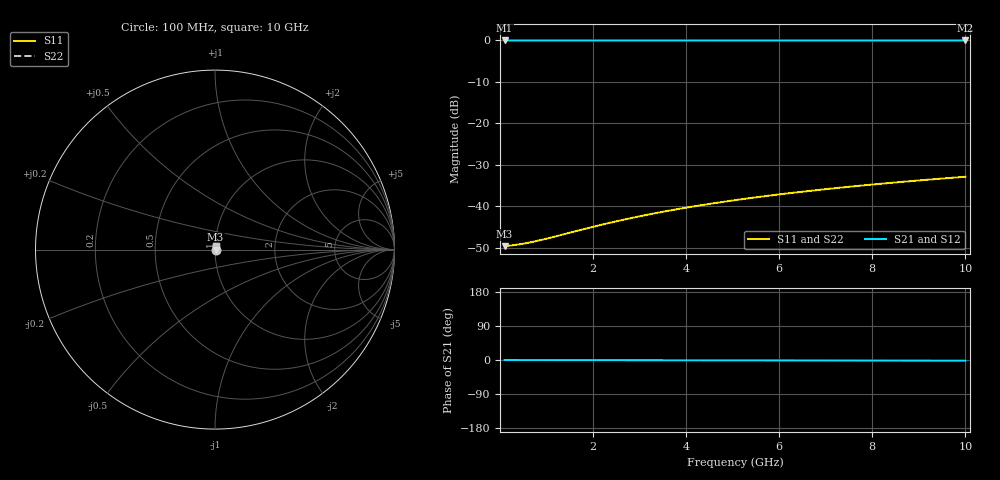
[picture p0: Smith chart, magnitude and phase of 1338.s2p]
# Hz S RI R 50.00
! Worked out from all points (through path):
!   100 points, 100 MHz to 10 GHz, reference 50 ohm
!   highest |S21| = -0.03 dB at 100 MHz (marker M1); lowest = 0.0 dB at 10 GHz (marker M2)
!   lowest |S11| = -49.6 dB at 100 MHz (marker M3), VSWR 1.01, Z = 50.3 + j0.0224 ohm
!   |S11| at or under -10 dB: start of sweep to end of sweep
!   |S22| runs from -49.6 to -32.9 dB; largest |S21 - S12| = 0
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1e8  0.00329 0.000223  0.9967 -0.000308  0.9967 -0.000308  0.00329 0.000223
3e8  0.00333 0.000668  0.9967 -0.000925  0.9967 -0.000925  0.00333 0.000668
4e8  0.00334 0.000891  0.9967 -0.00123  0.9967 -0.00123  0.00334 0.000891
5e8  0.00335 0.00111  0.9966 -0.00154  0.9966 -0.00154  0.00335 0.00111
7e8  0.00337 0.00156  0.9966 -0.00216  0.9966 -0.00216  0.00337 0.00156
9e8  0.00339 0.002  0.9966 -0.00277  0.9966 -0.00277  0.00339 0.002
1.1e9  0.00341 0.00245  0.9966 -0.00339  0.9966 -0.00339  0.00341 0.00245
1.8e9  0.00345 0.00401  0.9965 -0.00555  0.9965 -0.00555  0.00345 0.00401
2.2e9  0.00348 0.0049  0.9965 -0.00678  0.9965 -0.00678  0.00348 0.0049
2.6e9  0.00351 0.00579  0.9965 -0.00802  0.9965 -0.00802  0.00351 0.00579
3e9  0.00353 0.00668  0.9965 -0.00925  0.9965 -0.00925  0.00353 0.00668
3.4e9  0.00356 0.00757  0.9964 -0.0105  0.9964 -0.0105  0.00356 0.00757
3.8e9  0.00359 0.00846  0.9964 -0.0117  0.9964 -0.0117  0.00359 0.00846
4.2e9  0.00362 0.00935  0.9964 -0.0129  0.9964 -0.0129  0.00362 0.00935
4.6e9  0.00366 0.0102  0.9963 -0.0142  0.9963 -0.0142  0.00366 0.0102
5.1e9  0.0037 0.0113  0.9963 -0.0157  0.9963 -0.0157  0.0037 0.0113
5.9e9  0.00378 0.0131  0.9962 -0.0182  0.9962 -0.0182  0.00378 0.0131
6.7e9  0.00386 0.0149  0.9961 -0.0207  0.9961 -0.0207  0.00386 0.0149
7.5e9  0.00396 0.0167  0.996 -0.0231  0.996 -0.0231  0.00396 0.0167
8.4e9  0.00407 0.0187  0.9959 -0.0259  0.9959 -0.0259  0.00407 0.0187
9.2e9  0.00418 0.0205  0.9958 -0.0284  0.9958 -0.0284  0.00418 0.0205
1e10  0.0043 0.0222  0.9957 -0.0308  0.9957 -0.0308  0.0043 0.0222
